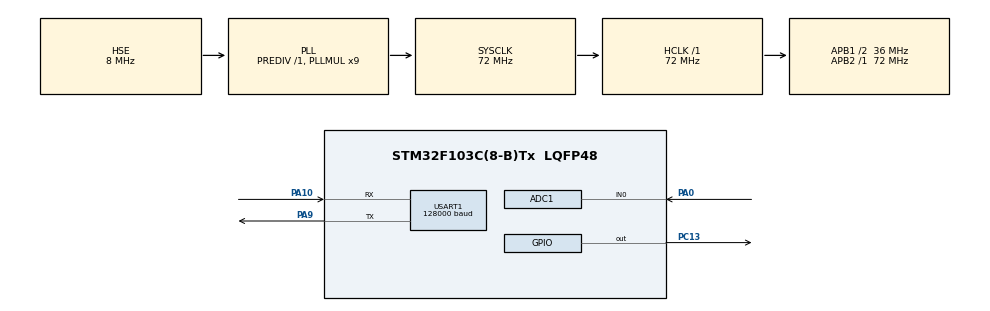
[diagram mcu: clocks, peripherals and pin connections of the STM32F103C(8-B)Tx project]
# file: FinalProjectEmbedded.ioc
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ADC1.Channel-1\#ChannelRegularConversion=ADC_CHANNEL_0
ADC1.ContinuousConvMode=ENABLE
ADC1.NbrOfConversionFlag=1
ADC1.Rank-1\#ChannelRegularConversion=1
ADC1.SamplingTime-1\#ChannelRegularConversion=ADC_SAMPLETIME_1CYCLE_5
ADC1.master=1
Dma.ADC1.0.Direction=DMA_PERIPH_TO_MEMORY
Dma.ADC1.0.Instance=DMA1_Channel1
Dma.ADC1.0.MemDataAlignment=DMA_MDATAALIGN_WORD
Dma.ADC1.0.MemInc=DMA_MINC_ENABLE
Dma.ADC1.0.Mode=DMA_CIRCULAR
Dma.ADC1.0.PeriphDataAlignment=DMA_PDATAALIGN_WORD
Dma.ADC1.0.PeriphInc=DMA_PINC_DISABLE
Dma.ADC1.0.Priority=DMA_PRIORITY_LOW
Dma.Request0=ADC1
Mcu.Family=STM32F1
Mcu.Name=STM32F103C(8-B)Tx
Mcu.Package=LQFP48
NVIC.ADC1_2_IRQn=true\:0\:0\:false\:false\:true\:true\:true
NVIC.DMA1_Channel1_IRQn=true\:0\:0\:false\:false\:true\:false\:true
NVIC.PriorityGroup=NVIC_PRIORITYGROUP_4
NVIC.TIM2_IRQn=true\:0\:0\:false\:false\:true\:true\:true
NVIC.USART1_IRQn=true\:0\:0\:false\:false\:true\:true\:true
PA0-WKUP.Signal=ADCx_IN0
PA10.Mode=Asynchronous
PA10.Signal=USART1_RX
PA13.Mode=Serial_Wire
PA13.Signal=SYS_JTMS-SWDIO
PA14.Mode=Serial_Wire
PA14.Signal=SYS_JTCK-SWCLK
PA9.Mode=Asynchronous
PA9.Signal=USART1_TX
PC13-TAMPER-RTC.Signal=GPIO_Output
PD0-OSC_IN.Mode=HSE-External-Oscillator
PD0-OSC_IN.Signal=RCC_OSC_IN
PD1-OSC_OUT.Mode=HSE-External-Oscillator
PD1-OSC_OUT.Signal=RCC_OSC_OUT
ProjectManager.HeapSize=0x200
ProjectManager.StackSize=0x400
ProjectManager.TargetToolchain=MDK-ARM V5.27
RCC.ADCPresc=RCC_ADCPCLK2_DIV6
RCC.AHBFreq_Value=72000000
RCC.APB1CLKDivider=RCC_HCLK_DIV2
RCC.APB1Freq_Value=36000000
RCC.APB1TimFreq_Value=72000000
RCC.APB2Freq_Value=72000000
RCC.APB2TimFreq_Value=72000000
RCC.HCLKFreq_Value=72000000
RCC.PLLMUL=RCC_PLL_MUL9
RCC.PLLSourceVirtual=RCC_PLLSOURCE_HSE
RCC.SYSCLKFreq_VALUE=72000000
RCC.SYSCLKSource=RCC_SYSCLKSOURCE_PLLCLK
RCC.USBFreq_Value=72000000
SH.ADCx_IN0.0=ADC1_IN0,IN0
TIM2.Period=2000
TIM2.Prescaler=35999
USART1.BaudRate=128000
USART1.VirtualMode=VM_ASYNC
VP_TIM2_VS_ClockSourceINT.Mode=Internal
board=custom

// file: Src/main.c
/* USER CODE BEGIN Header */
/**
  ******************************************************************************
  * @file           : main.c
  * @brief          : Main program body
  ******************************************************************************
  * @attention
  *
  * <h2><center>&copy; Copyright (c) 2020 STMicroelectronics.
  * All rights reserved.</center></h2>
  *
  * This software component is licensed by ST under BSD 3-Clause license,
  * the "License"; You may not use this file except in compliance with the
  * License. You may obtain a copy of the License at:
  *                        opensource.org/licenses/BSD-3-Clause
  *
  ******************************************************************************
  */
/* USER CODE END Header */

#include "main.h"

/* USER CODE BEGIN Includes */
#include <stdio.h>
#include <cmath>
#include <string.h>
/* USER CODE END Includes */

ADC_HandleTypeDef hadc1;
DMA_HandleTypeDef hdma_adc1;
char ss[]="";
TIM_HandleTypeDef htim2;
UART_HandleTypeDef huart1;
int start;
int samplingrate;

void SystemClock_Config(void);
static void MX_GPIO_Init(void);
static void MX_DMA_Init(void);
static void MX_ADC1_Init(void);
static void MX_USART1_UART_Init(void);
static void MX_TIM2_Init(void);

/* USER CODE BEGIN 0 */
uint32_t adc_value;
int myTick = 0;
uint32_t hexToAscii(uint8_t n)//4-bit hex value converted to an ascii character
{
 if (n>=0 && n<=9) n = n + '0';
 else n = n - 10 + 'A';
 return n;
}
	uint8_t r[1];
	uint32_t sum = 0;
	//out[2];
	char out[6];
	char out2[7];

	char e[] = "BPM: ";
	float write = 0.0;
	float val  = 0.0;
	int counter = 0;
	int flag = 0;
	int flag1 = 0;

int s = 0;
int flag3 = 1;

//int samplingrate = 0;

void SysTick_Handler(void)
{
  /* USER CODE BEGIN SysTick_IRQn 0 */
		  HAL_IncTick();
	double previous = 0.0;
	if(start == 1)

	{

		myTick++;
		if((myTick<60000) && (flag == 0) && (myTick%samplingrate == 0))
		{
			adc_value = HAL_ADC_GetValue(&hadc1); //get the value
			if((flag3 == 1) && (adc_value>2500))
			{
				counter++;
				flag3 = 0;
			}
			if(adc_value<500)
			{
				flag3 = 1;
			}
			previous = adc_value;
			sprintf(out,"%d\r\n",adc_value);
			HAL_UART_Transmit(&huart1,(uint8_t *) out,strlen(out),10);
		}
		if((myTick >= 60000) && (flag == 0))
		{
				flag = 1;
				HAL_ADC_Stop(&hadc1); // stop adc
			  sprintf(out2,"BPM : %d",counter);
				HAL_UART_Transmit(&huart1,(uint8_t *) out2,strlen(out2),10);
		}

	}
}
  /* USER CODE END SysTick_IRQn 0 */

  /* USER CODE BEGIN SysTick_IRQn 1 */
  /* USER CODE END SysTick_IRQn 1 */

void HAL_UART_RxCpltCallback(UART_HandleTypeDef *huart)
{
		HAL_UART_Receive_IT(&huart1,(uint8_t *) ss,sizeof(ss));

}
/* USER CODE END 0 */

int main(void)
{

  /* MCU Configuration--------------------------------------------------------*/

  /* Reset of all peripherals, Initializes the Flash interface and the Systick. */
  HAL_Init();

  /* Configure the system clock */
  SystemClock_Config();

  /* USER CODE BEGIN SysInit */
 SystemClock_Config();
 SysTick_Config(SystemCoreClock/1000);
  /* USER CODE END SysInit */

  /* Initialize all configured peripherals */
  MX_GPIO_Init();
  MX_DMA_Init();
  MX_ADC1_Init();
  MX_USART1_UART_Init();
  MX_TIM2_Init();
	HAL_UART_Receive_IT(&huart1,(uint8_t *) ss,sizeof(ss));
  /* USER CODE BEGIN 2 */
	//r[0] = ' ';
  /* USER CODE END 2 */
  /* Infinite loop */
  while (1)
  {
	}

}

void SystemClock_Config(void)
{
  RCC_OscInitTypeDef RCC_OscInitStruct = {0};
  RCC_ClkInitTypeDef RCC_ClkInitStruct = {0};
  RCC_PeriphCLKInitTypeDef PeriphClkInit = {0};

  /** Initializes the CPU, AHB and APB busses clocks
  */
  RCC_OscInitStruct.OscillatorType = RCC_OSCILLATORTYPE_HSE;
  RCC_OscInitStruct.HSEState = RCC_HSE_ON;
  RCC_OscInitStruct.HSEPredivValue = RCC_HSE_PREDIV_DIV1;
  RCC_OscInitStruct.HSIState = RCC_HSI_ON;
  RCC_OscInitStruct.PLL.PLLState = RCC_PLL_ON;
  RCC_OscInitStruct.PLL.PLLSource = RCC_PLLSOURCE_HSE;
  RCC_OscInitStruct.PLL.PLLMUL = RCC_PLL_MUL9;
  if (HAL_RCC_OscConfig(&RCC_OscInitStruct) != HAL_OK)
  {
    Error_Handler();
  }
  /** Initializes the CPU, AHB and APB busses clocks
  */
  RCC_ClkInitStruct.ClockType = RCC_CLOCKTYPE_HCLK|RCC_CLOCKTYPE_SYSCLK
                              |RCC_CLOCKTYPE_PCLK1|RCC_CLOCKTYPE_PCLK2;
  RCC_ClkInitStruct.SYSCLKSource = RCC_SYSCLKSOURCE_PLLCLK;
  RCC_ClkInitStruct.AHBCLKDivider = RCC_SYSCLK_DIV1;
  RCC_ClkInitStruct.APB1CLKDivider = RCC_HCLK_DIV2;
  RCC_ClkInitStruct.APB2CLKDivider = RCC_HCLK_DIV1;

  if (HAL_RCC_ClockConfig(&RCC_ClkInitStruct, FLASH_LATENCY_2) != HAL_OK)
  {
    Error_Handler();
  }
  PeriphClkInit.PeriphClockSelection = RCC_PERIPHCLK_ADC;
  PeriphClkInit.AdcClockSelection = RCC_ADCPCLK2_DIV6;
  if (HAL_RCCEx_PeriphCLKConfig(&PeriphClkInit) != HAL_OK)
  {
    Error_Handler();
  }
}

static void MX_ADC1_Init(void)
{

  ADC_ChannelConfTypeDef sConfig = {0};

  /** Common config
  */
  hadc1.Instance = ADC1;
  hadc1.Init.ScanConvMode = ADC_SCAN_DISABLE;
  hadc1.Init.ContinuousConvMode = ENABLE;
  hadc1.Init.DiscontinuousConvMode = DISABLE;
  hadc1.Init.ExternalTrigConv = ADC_SOFTWARE_START;
  hadc1.Init.DataAlign = ADC_DATAALIGN_RIGHT;
  hadc1.Init.NbrOfConversion = 1;
  if (HAL_ADC_Init(&hadc1) != HAL_OK)
  {
    Error_Handler();
  }
  /** Configure Regular Channel
  */
  sConfig.Channel = ADC_CHANNEL_0;
  sConfig.Rank = ADC_REGULAR_RANK_1;
  sConfig.SamplingTime = ADC_SAMPLETIME_1CYCLE_5;
  if (HAL_ADC_ConfigChannel(&hadc1, &sConfig) != HAL_OK)
  {
    Error_Handler();
  }

}

static void MX_TIM2_Init(void)
{

  TIM_ClockConfigTypeDef sClockSourceConfig = {0};
  TIM_MasterConfigTypeDef sMasterConfig = {0};

  htim2.Instance = TIM2;
  htim2.Init.Prescaler = 35999;
  htim2.Init.CounterMode = TIM_COUNTERMODE_UP;
  htim2.Init.Period = 2000;
  htim2.Init.ClockDivision = TIM_CLOCKDIVISION_DIV1;
  htim2.Init.AutoReloadPreload = TIM_AUTORELOAD_PRELOAD_DISABLE;
  if (HAL_TIM_Base_Init(&htim2) != HAL_OK)
  {
    Error_Handler();
  }
  sClockSourceConfig.ClockSource = TIM_CLOCKSOURCE_INTERNAL;
  if (HAL_TIM_ConfigClockSource(&htim2, &sClockSourceConfig) != HAL_OK)
  {
    Error_Handler();
  }
  sMasterConfig.MasterOutputTrigger = TIM_TRGO_RESET;
  sMasterConfig.MasterSlaveMode = TIM_MASTERSLAVEMODE_DISABLE;
  if (HAL_TIMEx_MasterConfigSynchronization(&htim2, &sMasterConfig) != HAL_OK)
  {
    Error_Handler();
  }

}

static void MX_USART1_UART_Init(void)
{

  huart1.Instance = USART1;
  huart1.Init.BaudRate = 128000;
  huart1.Init.WordLength = UART_WORDLENGTH_8B;
  huart1.Init.StopBits = UART_STOPBITS_1;
  huart1.Init.Parity = UART_PARITY_NONE;
  huart1.Init.Mode = UART_MODE_TX_RX;
  huart1.Init.HwFlowCtl = UART_HWCONTROL_NONE;
  huart1.Init.OverSampling = UART_OVERSAMPLING_16;
  if (HAL_UART_Init(&huart1) != HAL_OK)
  {
    Error_Handler();
  }

}

static void MX_DMA_Init(void)
{

  /* DMA controller clock enable */
  __HAL_RCC_DMA1_CLK_ENABLE();

  /* DMA interrupt init */
  /* DMA1_Channel1_IRQn interrupt configuration */
  HAL_NVIC_SetPriority(DMA1_Channel1_IRQn, 0, 0);
  HAL_NVIC_EnableIRQ(DMA1_Channel1_IRQn);

}

static void MX_GPIO_Init(void)
{
  GPIO_InitTypeDef GPIO_InitStruct = {0};

  /* GPIO Ports Clock Enable */
  __HAL_RCC_GPIOC_CLK_ENABLE();
  __HAL_RCC_GPIOD_CLK_ENABLE();
  __HAL_RCC_GPIOA_CLK_ENABLE();

  /*Configure GPIO pin Output Level */
  HAL_GPIO_WritePin(GPIOC, GPIO_PIN_13, GPIO_PIN_RESET);

  /*Configure GPIO pin : PC13 */
  GPIO_InitStruct.Pin = GPIO_PIN_13;
  GPIO_InitStruct.Mode = GPIO_MODE_OUTPUT_PP;
  GPIO_InitStruct.Pull = GPIO_NOPULL;
  GPIO_InitStruct.Speed = GPIO_SPEED_FREQ_LOW;
  HAL_GPIO_Init(GPIOC, &GPIO_InitStruct);

}

void Error_Handler(void)
{
}

/************************ (C) COPYRIGHT STMicroelectronics *****END OF FILE****/
